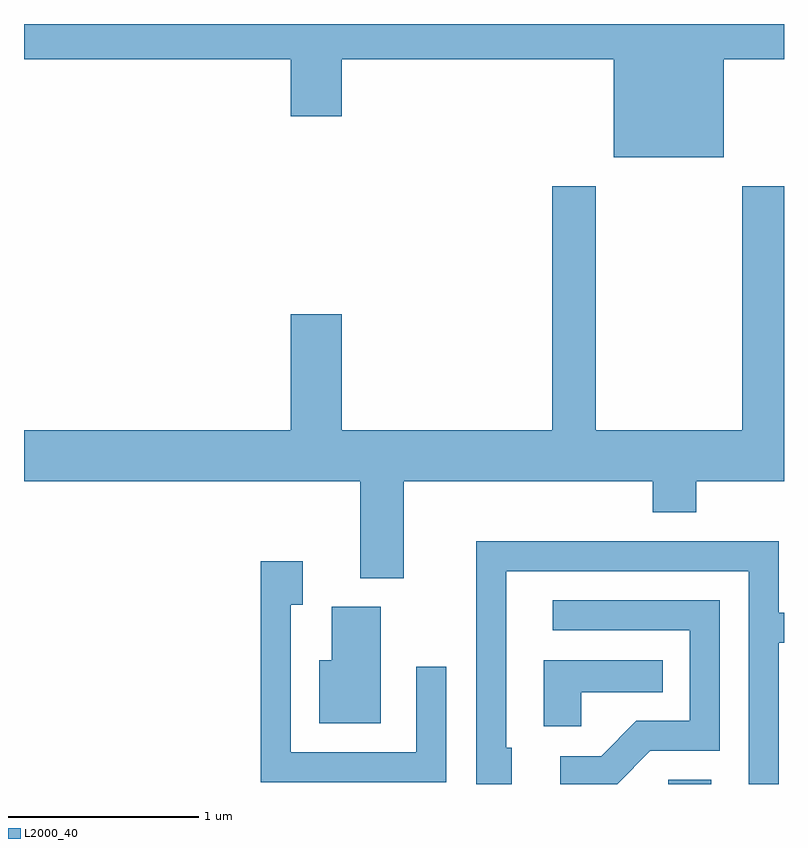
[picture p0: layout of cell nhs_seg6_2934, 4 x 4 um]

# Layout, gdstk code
import gdstk
lib = gdstk.Library(unit=1e-6, precision=1e-09)
def R(c, l, rs):  # rectangles x0, y0, x1, y1
    for r in rs: c.add(gdstk.rectangle(r[:2], r[2:], *l))
def P(c, l, *ps):  # polygons
    for p in ps: c.add(gdstk.Polygon(p, *l))
L2000_40 = (2000, 40)

nhs_seg6_2934 = lib.new_cell('nhs_seg6_2934')
R(nhs_seg6_2934, L2000_40, [(277.001,1606.162,277.229,1606.184)])
P(nhs_seg6_2934, L2000_40, [(277.294,1609.976),(277.611,1609.976),(277.611,1610.162),(273.611,1610.162),(273.611,1609.976),(275.016,1609.976),(275.016,1609.676),(275.284,1609.676),(275.284,1609.976),(276.716,1609.976),(276.716,1609.461),(277.294,1609.461)],
  [(275.609,1607.756),(276.921,1607.756),(276.921,1607.591),(277.149,1607.591),(277.149,1607.756),(277.611,1607.756),(277.611,1609.309),(277.391,1609.309),(277.391,1608.024),(276.619,1608.024),(276.619,1609.309),(276.391,1609.309),(276.391,1608.024),(275.284,1608.024),(275.284,1608.634),(275.016,1608.634),(275.016,1608.024),(273.611,1608.024),(273.611,1607.756),(275.381,1607.756),(275.381,1607.246),(275.609,1607.246)],
  [(276.179,1606.354),(276.149,1606.354),(276.149,1607.281),(277.426,1607.281),(277.426,1606.162),(277.584,1606.162),(277.584,1606.906),(277.611,1606.906),(277.611,1607.064),(277.584,1607.064),(277.584,1607.439),(275.991,1607.439),(275.991,1606.162),(276.179,1606.162)],
  [(275.834,1606.778),(275.676,1606.778),(275.676,1606.329),(275.014,1606.329),(275.014,1607.106),(275.079,1607.106),(275.079,1607.334),(274.856,1607.334),(274.856,1606.171),(275.834,1606.171)],
  [(276.907,1606.336),(277.274,1606.336),(277.274,1607.129),(276.393,1607.129),(276.393,1606.971),(277.116,1606.971),(277.116,1606.494),(276.834,1606.494),(276.649,1606.309),(276.433,1606.309),(276.433,1606.162),(276.733,1606.162)],
  [(275.489,1607.094),(275.231,1607.094),(275.231,1606.814),(275.166,1606.814),(275.166,1606.481),(275.489,1606.481)],
  [(276.544,1606.646),(276.973,1606.646),(276.973,1606.814),(276.346,1606.814),(276.346,1606.466),(276.544,1606.466)])

lib.write_gds('nhs_seg6_2934.gds')
